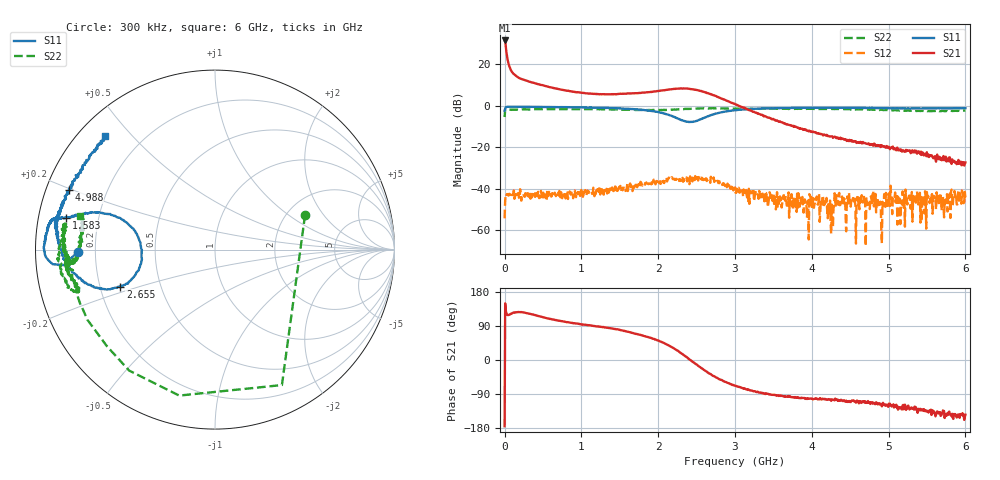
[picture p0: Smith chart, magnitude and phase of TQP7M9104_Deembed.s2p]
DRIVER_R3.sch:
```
<QucsStudio Schematic 4.3.1>
<Properties>
View=75,-126,1863,1330,0.621566,0,19
Grid=10,10,1
DataSet=*.dat
DataDisplay=*.sch
OpenDisplay=1
showFrame=0
FrameText0=Title
FrameText1=Drawn By:
FrameText2=Date:
FrameText3=Revision:
</Properties>
<Symbol>
</Symbol>
<Components>
Pac P1 1 140 410 18 -26 0 0 "1" 1 "50 Ω" 1 "0 dBm" 0 "1 GHz" 0 "26.85" 0 "SUBCLICK" 0
GND * 1 140 460 0 0 0 0
C C5 1 260 430 17 -26 0 1 "2.4pF" 1 "0" 0 "" 0 "neutral" 0 "SMD0603" 0
GND * 1 400 480 0 0 0 0
GND * 1 260 480 0 0 0 0
GND * 1 510 410 0 0 0 0
SPfile TQP7M9104_2 1 510 360 -26 -40 0 0 "TQP7M9104_Deembed.s2p" 0 "2" 0 "polar" 0 "linear" 0 "short" 0 "none" 0 "block" 0 "SOT23" 0
GND * 1 840 480 0 0 0 0
GND * 1 700 480 0 0 0 0
L L4 0 770 360 -26 10 0 0 "2.5 nH" 1 "0" 0 "" 0 "SELF-WE-PD3S" 0
L L5 0 330 360 -26 10 0 0 "1.8 nH" 1 "0" 0 "" 0 "SELF-WE-PD3S" 0
L L6 0 630 360 -26 10 0 0 "1.2 nH" 1 "0" 0 "" 0 "SELF-WE-PD3S" 0
C C8 1 400 430 17 -26 0 1 "2.7 pF" 1 "0" 0 "" 0 "neutral" 0 "SMD0603" 0
Pac P2 1 960 410 18 -26 0 0 "2" 1 "50 Ω" 1 "0 dBm" 0 "1 GHz" 0 "26.85" 0 "SUBCLICK" 0
GND * 1 960 460 0 0 0 0
.SP SP1 1 140 -80 0 63 0 0 "lin" 1 "1 GHz" 1 "6 GHz" 1 "501" 1 "no" 0 "1" 0 "2" 0 "none" 0
Eqn Eqn1 1 140 120 0 8 0 0 "dBS11=dB(S[1,1])=" 1 "dBS21=dB(S[2,1])=" 1 "dBS12=dB(S[1,2])=" 1 "dBS22=dB(S[2,2])=" 1 "yes" 0
SUBST Subst1 1 350 -40 -30 24 0 0 "3.66" 1 "0.508 mm" 1 "35 µm" 1 "0.0031" 1 "1.72e-8" 1 "0.15 µm" 0 "Metal" 1 "Hammerstad" 0 "Kirschning" 0
MLIN MS1 1 330 320 -50 -89 0 0 "Subst1" 1 "1.09 mm" 1 "6.5 mm" 1 "26.85" 0
C C6 1 700 430 17 -26 0 1 "6.2 pF" 1 "0" 0 "" 0 "neutral" 0 "SMD0603" 0
MLIN MS2 1 630 320 -50 -89 0 0 "Subst1" 1 "1.09 mm" 1 "4 mm" 1 "26.85" 0
MLIN MS3 1 770 320 -50 -89 0 0 "Subst1" 1 "1.09 mm" 1 "10 mm" 1 "26.85" 0
C C7 1 840 430 17 -26 0 1 "1.5 pF" 1 "0" 0 "" 0 "neutral" 0 "SMD0603" 0
</Components>
<Wires>
140 440 140 460 "" 0 0 0 ""
140 360 140 380 "" 0 0 0 ""
260 460 260 480 "" 0 0 0 ""
400 460 400 480 "" 0 0 0 ""
400 360 400 400 "" 0 0 0 ""
260 360 260 400 "" 0 0 0 ""
140 360 260 360 "" 0 0 0 ""
400 360 480 360 "" 0 0 0 ""
510 390 510 410 "" 0 0 0 ""
700 460 700 480 "" 0 0 0 ""
840 460 840 480 "" 0 0 0 ""
840 360 840 400 "" 0 0 0 ""
700 360 700 400 "" 0 0 0 ""
840 360 960 360 "" 0 0 0 ""
800 360 820 360 "" 0 0 0 ""
700 360 720 360 "" 0 0 0 ""
360 360 380 360 "" 0 0 0 ""
260 360 280 360 "" 0 0 0 ""
660 360 680 360 "" 0 0 0 ""
540 360 580 360 "" 0 0 0 ""
960 440 960 460 "" 0 0 0 ""
960 360 960 380 "" 0 0 0 ""
380 360 400 360 "" 0 0 0 ""
380 320 380 360 "" 0 0 0 ""
360 320 380 320 "" 0 0 0 ""
280 360 300 360 "" 0 0 0 ""
280 320 280 360 "" 0 0 0 ""
280 320 300 320 "" 0 0 0 ""
680 360 700 360 "" 0 0 0 ""
680 320 680 360 "" 0 0 0 ""
660 320 680 320 "" 0 0 0 ""
580 360 600 360 "" 0 0 0 ""
580 320 580 360 "" 0 0 0 ""
580 320 600 320 "" 0 0 0 ""
820 360 840 360 "" 0 0 0 ""
820 320 820 360 "" 0 0 0 ""
800 320 820 320 "" 0 0 0 ""
720 360 740 360 "" 0 0 0 ""
720 320 720 360 "" 0 0 0 ""
720 320 740 320 "" 0 0 0 ""
</Wires>
<Diagrams>
<Smith 1140 1220 648 648 31 #c0c0c0 1 00 1 0 1 1 1 0 4 1 1 0 4 1 315 0 225 "" "" "">
	<Legend 10 -100 0>
	<"S[1,1]" "" #0000ff 0 3 0 0 0 0 "">
	  <Mkr 2.3e+09 -40 -660 3 1 0 0 1 50>
	<"S[2,2]" "" #ff0000 0 3 0 0 0 0 "">
	  <Mkr 2.3e+09 550 -660 3 1 0 0 1 50>
</Smith>
<Rect 178 833 807 218 31 #c0c0c0 1 00 0 1e+09 5e+08 6e+09 0 -20 4 20 0 -20 2 0 315 0 225 "" "" "">
	<Legend 10 -100 0>
	<"dBS11" "" #0000ff 0 3 0 0 1 0 "">
	<"dBS21" "" #ff0000 0 3 0 0 0 0 "">
	  <Mkr 2.4e+09 302 -273 3 1 0 0 0 50>
	  <Mkr 2.2e+09 2 -273 3 1 0 0 0 50>
	  <Mkr 2.3e+09 152 -273 3 1 0 0 0 50>
</Rect>
<Rect 179 1213 807 218 31 #c0c0c0 1 00 0 2e+09 1e+08 2.6e+09 0 10 0.5 15 0 -20 2 0 315 0 225 "" "" "">
	<Legend 10 -100 0>
	<"dBS11" "" #0000ff 0 3 0 0 1 0 "">
	<"dBS21" "" #ff0000 0 3 0 0 0 0 "">
	  <Mkr 2.4e+09 621 -273 3 1 0 0 0 50>
	  <Mkr 2.3e+09 461 -273 3 1 0 0 0 50>
	  <Mkr 2.2e+09 301 -273 3 1 0 0 0 50>
</Rect>
</Diagrams>
<Paintings>
</Paintings>
```
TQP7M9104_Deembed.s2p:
! TriQuint Semiconductor
! Device: TQP7M9104 ( 5V 2W High Linearity Amplifier)
! 24 pin QFN 4X4mm SMT Package
! De-embedded S-parameter meausred using port extensions on the PCB.
! Port 1 extension : 196.83ps
! Port 2 extension : 193.02ps
! Network Analyzer HP8753E.07.72: Apr 03, 2002 Serial No. US38161002
! 25 Oct 2011  11:56:19
! Frequency  S11  S21  S12  S22
# HZ  S  DB R  50
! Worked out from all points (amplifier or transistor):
!   801 points, 300 kHz to 6 GHz, reference 50 ohm
!   highest |S21| = 31.5 dB at 7.8 MHz (marker M1)
!   |S21| within 3 dB of that: start of sweep to 16.06 MHz
!   unconditionally stable (mu >= 1): 229.2 MHz to 272.9 MHz; 316.3 MHz to 367.5 MHz; 490.2 MHz to end of sweep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
!   at 997.8 MHz: K = 1.32, MAG = 20.1 dB, |S12| = -40.6 dB
!   at 3 GHz: K = 4.97, MAG = 10.2 dB, |S12| = -39.4 dB
!   at 6 GHz: K = 167.10, MAG = -16.8 dB, |S12| = -44.1 dB
!   S11 on the Smith chart (normalised r, x): 300 kHz: 0.13, -0.01; 1.583 GHz: 0.08, +0.10; 2.655 GHz: 0.29, -0.17; 4.988 GHz: 0.07, +0.20; 6 GHz: 0.08, +0.42
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300000  -2.33 -179.1  31.53 -174.7  -54.30 149.6  -5.40 20.9
7799625  -1.44 -174.1  31.55 149.4  -45.53 54.6  -1.50 -63.7
3.779812e7  -0.47 -178.1  22.56 118.7  -42.58 6.3  -1.89 -145.8
4.529775e7  -0.45 -178.7  21.27 118.5  -43.12 18.9  -1.82 -151.1
9.779512e7  -0.41 179.0  16.25 123.4  -43.09 -5.6  -1.86 -165.4
3.452828e8  -0.53 174.0  11.38 120.9  -41.28 3.3  -1.74 -174.6
1.582721e9  -1.43 167.9  5.82 75.7  -40.81 -13.5  -1.89 -167.9
2.655167e9  -4.95 -158.7  6.00 -34.5  -35.34 -117.1  -1.26 -174.9
3.00015e9  -2.14 -169.2  0.90 -67.7  -39.42 -168.4  -1.45 175.3
4.987551e9  -1.11 157.8  -20.24 -120.2  -45.47 109.6  -2.09 -174.6
6e9  -1.12 133.9  -27.32 -144.4  -44.12 66.5  -2.20 165.8
